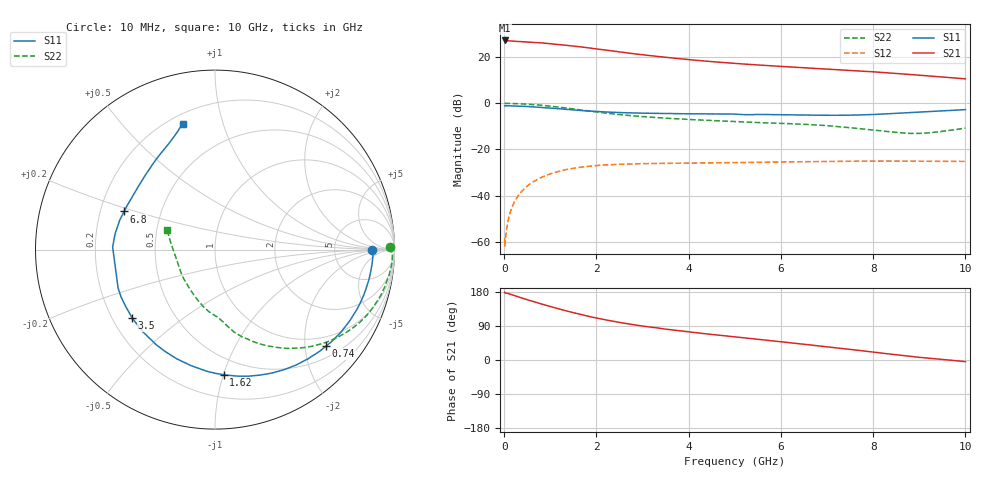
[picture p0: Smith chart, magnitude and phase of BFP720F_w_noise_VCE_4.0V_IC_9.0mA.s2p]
! Infineon Technologies  Discrete & RF Semiconductors
! BFP720F
! VCE =  4.0 V,  IC =  9.0 mA
! Common Emitter S-Parameters:  Jan 2016
# GHz  S  MA  R  50
!  f  S11  S21  S12  S22
! GHz  MAG  ANG  MAG  ANG  MAG  ANG  MAG  ANG
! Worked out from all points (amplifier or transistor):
!   233 points, 10 MHz to 10 GHz, reference 50 ohm
!   highest |S21| = 27.2 dB at 10 MHz (marker M1)
!   |S21| within 3 dB of that: start of sweep to 1.747 GHz
!   unconditionally stable (mu >= 1): start of sweep to 15.53 MHz; 6.873 GHz to end of sweep
!   at 200 MHz: K = 0.13, MSG = 35.3 dB, |S12| = -43.7 dB
!   at 1.74 GHz: K = 0.29, MSG = 25.9 dB, |S12| = -27.5 dB
!   at 10 GHz: K = 1.27, MAG = 14.7 dB, |S12| = -25.2 dB
!   lowest NFmin = 0.52 dB at 450 MHz
!   S11 on the Smith chart (normalised r, x): 10 MHz: 15, -0; 740 MHz: 0.76, -2.48; 1.62 GHz: 0.37, -1.00; 3.5 GHz: 0.28, -0.33; 6.8 GHz: 0.30, +0.18; 10 GHz: 0.25, +0.74
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0.01  0.8724 -0.1  22.83 178.7  0.0012 -20.3  0.9749 0.8
0.02  0.8818 -0.9  22.47 176.8  0.001 61.3  0.9902 -1.2
0.05  0.8803 -2.8  22.57 176.8  0.0017 73.4  0.9888 -1.6
0.155  0.8758 -8.6  22.23 172.4  0.0051 79.4  0.9867 -5.4
0.36  0.8622 -20.1  21.54 164.3  0.0117 75.9  0.9686 -12.3
0.74  0.8201 -40.9  20.39 150.3  0.0229 65.4  0.914 -24.7
1  0.7859 -54.9  19.45 141.1  0.0295 58.1  0.8622 -32.6
1.2  0.7574 -65.2  18.58 134.4  0.0337 52.8  0.8184 -38.4
1.38  0.7317 -74.2  17.78 128.6  0.0371 48.3  0.7779 -43.2
1.62  0.6988 -86.0  16.78 121.1  0.0406 42.8  0.724 -49.2
1.68  0.6917 -88.8  16.49 119.4  0.0413 41.5  0.7104 -50.6
2.02  0.6579 -102.5  14.91 110.2  0.0447 35.1  0.6429 -57.9
2.48  0.6281 -118.1  12.97 99.7  0.0474 28.0  0.5698 -65.8
2.9  0.6111 -129.0  11.5 91.4  0.0486 23.4  0.5208 -71.2
3.4  0.5993 -138.7  10.1 83.2  0.0496 19.3  0.4807 -75.9
3.5  0.5983 -140.5  9.843 81.4  0.0498 18.5  0.4732 -76.8
4  0.5898 -147.5  8.774 74.1  0.0504 15.6  0.4435 -79.6
5.1  0.5713 -162.9  7.153 59.8  0.0518 11.2  0.3962 -84.8
6.8  0.5491 157.2  5.623 37.5  0.0544 5.8  0.3351 -98.6
8.4  0.5954 124.4  4.49 15.2  0.0558 0.3  0.2385 -136.8
9  0.6415 114.0  4.033 7.1  0.0553 -1.2  0.2213 -166.7
10  0.725 104.4  3.368 -4.2  0.0548 -2.9  0.2884 157.8
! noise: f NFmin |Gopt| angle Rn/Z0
0.45  0.52  0.33  4  0.18
0.9  0.55  0.31  9  0.15
1.8  0.6  0.29  15  0.14
2.4  0.63  0.26  25  0.14
5.5  0.77  0.25  48  0.08
10  0.99  0.27  -94  0.17
